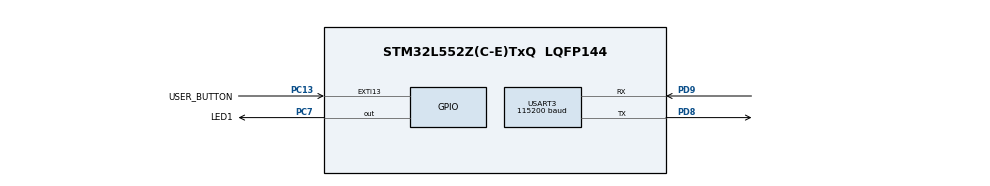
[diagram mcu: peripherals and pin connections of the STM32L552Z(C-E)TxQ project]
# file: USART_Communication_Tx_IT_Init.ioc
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Mcu.Family=STM32L5
Mcu.Name=STM32L552Z(C-E)TxQ
Mcu.Package=LQFP144
Mcu.TrustZone=disable
NVIC.EXTI13_IRQn=true\:3\:0\:true\:false\:true\:true\:true\:true
NVIC.PriorityGroup=NVIC_PRIORITYGROUP_3
NVIC.USART3_IRQn=true\:0\:0\:false\:false\:true\:true\:true\:true
PC13.GPIO_Label=USER_BUTTON
PC13.GPIO_ModeDefaultEXTI=GPIO_MODE_IT_FALLING
PC13.GPIO_PuPd=GPIO_NOPULL
PC13.Signal=GPXTI13
PC7.GPIO_Label=LED1
PC7.GPIO_PuPd=GPIO_NOPULL
PC7.Signal=GPIO_Output
PD8.GPIO_PuPd=GPIO_PULLUP
PD8.GPIO_Speed=GPIO_SPEED_FREQ_HIGH
PD8.Mode=Asynchronous
PD8.Signal=USART3_TX
PD9.GPIO_PuPd=GPIO_PULLUP
PD9.GPIO_Speed=GPIO_SPEED_FREQ_HIGH
PD9.Mode=Asynchronous
PD9.Signal=USART3_RX
ProjectManager.HeapSize=0x200
ProjectManager.StackSize=0x400
ProjectManager.TargetToolchain=EWARM V8.32
RCC.ADCCLockSelection=RCC_ADCCLKSOURCE_SYSCLK
RCC.ADCFreq_Value=110000000
RCC.AHBFreq_Value=110000000
RCC.APB1Freq_Value=110000000
RCC.APB1TimFreq_Value=110000000
RCC.APB2Freq_Value=110000000
RCC.APB2TimFreq_Value=110000000
RCC.CortexFreq_Value=110000000
RCC.HCLKFreq_Value=110000000
RCC.HSE_VALUE=16000000
RCC.HSI48_VALUE=48000000
RCC.HSI_VALUE=16000000
RCC.LSE_VALUE=32768
RCC.MSI_VALUE=4000000
RCC.PLLN=55
RCC.PLLSAI1N=24
RCC.RTCClockSelection=RCC_RTCCLKSOURCE_LSE
RCC.SYSCLKFreq_VALUE=110000000
RCC.SYSCLKSource=RCC_SYSCLKSOURCE_PLLCLK
RCC.USBFreq_Value=48000000
RCC.VCOOutputFreq_Value=220000000
USART3.AutoBaudRateEnableParam=UART_ADVFEATURE_AUTOBAUDRATE_DISABLE
USART3.BaudRate=115200
USART3.ClockPrescaler=PRESCALER_DIV1
USART3.DMADisableonRxErrorParam=ADVFEATURE_DMA_ENABLEONRXERROR
USART3.DataInvertParam=ADVFEATURE_DATAINV_DISABLE
USART3.FIFOMode=FIFOMODE_DISABLE
USART3.MSBFirstParam=ADVFEATURE_MSBFIRST_DISABLE
USART3.Mode=MODE_TX_RX
USART3.OneBitSampling=UART_ONE_BIT_SAMPLE_DISABLE
USART3.OverSampling=UART_OVERSAMPLING_16
USART3.OverrunDisableParam=ADVFEATURE_OVERRUN_ENABLE
USART3.Parity=PARITY_NONE
USART3.RXFIFOThreshold=RXFIFO_THRESHOLD_1EIGHTHFULL
USART3.RxPinLevelInvertParam=ADVFEATURE_RXINV_DISABLE
USART3.StopBits=STOPBITS_1
USART3.SwapParam=ADVFEATURE_SWAP_DISABLE
USART3.TXFIFOThreshold=TXFIFO_THRESHOLD_1EIGHTHFULL
USART3.TxPinLevelInvertParam=ADVFEATURE_TXINV_DISABLE
USART3.VirtualMode-Asynchronous=VM_ASYNC
USART3.WordLength=WORDLENGTH_8B
VP_ICACHE_VS_ICACHE.Mode=DirectMappedCache
VP_PWR_VS_DBSignals.Mode=DisableDeadBatterySignals
board=custom

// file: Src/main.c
/* USER CODE BEGIN Header */
/**
  ******************************************************************************
  * @file    Examples_LL/USART/USART_Communication_Tx_IT_Init/Src/main.c
  * @author  MCD Application Team
  * @brief   This example describes how to send bytes over USART IP using
  *          the STM32L5xx USART LL API.
  *          Peripheral initialization done using LL unitary services functions.
  ******************************************************************************
  * @attention
  *
  * Copyright (c) 2019 STMicroelectronics.
  * All rights reserved.
  *
  * This software is licensed under terms that can be found in the LICENSE file
  * in the root directory of this software component.
  * If no LICENSE file comes with this software, it is provided AS-IS.
  *
  ******************************************************************************
  */
/* USER CODE END Header */
#include "main.h"

/* USER CODE BEGIN PV */

__IO uint8_t ubButtonPress = 0;
__IO uint8_t ubSend = 0;
const uint8_t aStringToSend[] = "STM32L5xx USART LL API Example : TX in IT mode\r\nConfiguration UART 115200 bps, 8 data bit/1 stop bit/No parity/No HW flow control\r\n";
uint8_t ubSizeToSend = sizeof(aStringToSend);

/* USER CODE END PV */

void SystemClock_Config(void);
static void MX_GPIO_Init(void);
static void MX_ICACHE_Init(void);
static void MX_USART3_UART_Init(void);
/* USER CODE BEGIN PFP */
void     LED_On(void);
void     LED_Off(void);
void     LED_Blinking(uint32_t Period);

/* USER CODE END PFP */

int main(void)
{

  /* MCU Configuration--------------------------------------------------------*/

  /* Reset of all peripherals, Initializes the Flash interface and the Systick. */
  LL_APB2_GRP1_EnableClock(LL_APB2_GRP1_PERIPH_SYSCFG);
  LL_APB1_GRP1_EnableClock(LL_APB1_GRP1_PERIPH_PWR);

  /* System interrupt init*/
  NVIC_SetPriorityGrouping(NVIC_PRIORITYGROUP_3);

  /** Disable the internal Pull-Up in Dead Battery pins of UCPD peripheral
  */
  LL_PWR_DisableUCPDDeadBattery();

  /* Configure the system clock */
  SystemClock_Config();

  /* Initialize all configured peripherals */
  MX_GPIO_Init();
  MX_ICACHE_Init();
  MX_USART3_UART_Init();
  /* USER CODE BEGIN 2 */

  /* Polling USART initialisation */
  while ((!(LL_USART_IsActiveFlag_TEACK(USART3))) || (!(LL_USART_IsActiveFlag_REACK(USART3))))
  {
  }

  /* Enable RXNE and Error interrupts */
  LL_USART_EnableIT_RXNE(USART3);
  LL_USART_EnableIT_ERROR(USART3);

  /* Set LED1 Off */
  LED_Off();

  /* USER CODE END 2 */

  /* Infinite loop */
  while (1)
  {

  }
}

void SystemClock_Config(void)
{
  LL_FLASH_SetLatency(LL_FLASH_LATENCY_5);
  while(LL_FLASH_GetLatency()!= LL_FLASH_LATENCY_5)
  {
  }

  LL_PWR_SetRegulVoltageScaling(LL_PWR_REGU_VOLTAGE_SCALE0);
  LL_RCC_MSI_Enable();

   /* Wait till MSI is ready */
  while(LL_RCC_MSI_IsReady() != 1)
  {
  }

  LL_RCC_MSI_EnableRangeSelection();
  LL_RCC_MSI_SetRange(LL_RCC_MSIRANGE_6);
  LL_RCC_MSI_SetCalibTrimming(0);
  LL_RCC_PLL_ConfigDomain_SYS(LL_RCC_PLLSOURCE_MSI, LL_RCC_PLLM_DIV_1, 55, LL_RCC_PLLR_DIV_2);
  LL_RCC_PLL_EnableDomain_SYS();
  LL_RCC_PLL_Enable();

   /* Wait till PLL is ready */
  while(LL_RCC_PLL_IsReady() != 1)
  {
  }

   /* Intermediate AHB prescaler 2 when target frequency clock is higher than 80 MHz */
   LL_RCC_SetAHBPrescaler(LL_RCC_SYSCLK_DIV_2);

  LL_RCC_SetSysClkSource(LL_RCC_SYS_CLKSOURCE_PLL);

   /* Wait till System clock is ready */
  while(LL_RCC_GetSysClkSource() != LL_RCC_SYS_CLKSOURCE_STATUS_PLL)
  {
  }

  /* Insure 1us transition state at intermediate medium speed clock*/
  for (__IO uint32_t i = (RCC_MAX_FREQUENCY_MHZ >> 1); i !=0; i--);

  LL_RCC_SetAHBPrescaler(LL_RCC_SYSCLK_DIV_1);
  LL_RCC_SetAPB1Prescaler(LL_RCC_APB1_DIV_1);
  LL_RCC_SetAPB2Prescaler(LL_RCC_APB2_DIV_1);

  LL_Init1msTick(110000000);

  LL_SetSystemCoreClock(110000000);
}

static void MX_ICACHE_Init(void)
{

  /** Enable instruction cache in 1-way (direct mapped cache)
  */
  LL_ICACHE_SetMode(LL_ICACHE_1WAY);
  LL_ICACHE_Enable();

}

static void MX_USART3_UART_Init(void)
{

  LL_USART_InitTypeDef USART_InitStruct = {0};

  LL_GPIO_InitTypeDef GPIO_InitStruct = {0};

  LL_RCC_SetUSARTClockSource(LL_RCC_USART3_CLKSOURCE_PCLK1);

  /* Peripheral clock enable */
  LL_APB1_GRP1_EnableClock(LL_APB1_GRP1_PERIPH_USART3);

  LL_AHB2_GRP1_EnableClock(LL_AHB2_GRP1_PERIPH_GPIOD);
  /**USART3 GPIO Configuration
  PD8   ------> USART3_TX
  PD9   ------> USART3_RX
  */
  GPIO_InitStruct.Pin = LL_GPIO_PIN_8|LL_GPIO_PIN_9;
  GPIO_InitStruct.Mode = LL_GPIO_MODE_ALTERNATE;
  GPIO_InitStruct.Speed = LL_GPIO_SPEED_FREQ_HIGH;
  GPIO_InitStruct.OutputType = LL_GPIO_OUTPUT_PUSHPULL;
  GPIO_InitStruct.Pull = LL_GPIO_PULL_UP;
  GPIO_InitStruct.Alternate = LL_GPIO_AF_7;
  LL_GPIO_Init(GPIOD, &GPIO_InitStruct);

  /* USART3 interrupt Init */
  NVIC_SetPriority(USART3_IRQn, NVIC_EncodePriority(NVIC_GetPriorityGrouping(),0, 0));
  NVIC_EnableIRQ(USART3_IRQn);

  USART_InitStruct.PrescalerValue = LL_USART_PRESCALER_DIV1;
  USART_InitStruct.BaudRate = 115200;
  USART_InitStruct.DataWidth = LL_USART_DATAWIDTH_8B;
  USART_InitStruct.StopBits = LL_USART_STOPBITS_1;
  USART_InitStruct.Parity = LL_USART_PARITY_NONE;
  USART_InitStruct.TransferDirection = LL_USART_DIRECTION_TX_RX;
  USART_InitStruct.HardwareFlowControl = LL_USART_HWCONTROL_NONE;
  USART_InitStruct.OverSampling = LL_USART_OVERSAMPLING_16;
  LL_USART_Init(USART3, &USART_InitStruct);
  LL_USART_SetTXFIFOThreshold(USART3, LL_USART_FIFOTHRESHOLD_1_8);
  LL_USART_SetRXFIFOThreshold(USART3, LL_USART_FIFOTHRESHOLD_1_8);
  LL_USART_DisableFIFO(USART3);
  LL_USART_ConfigAsyncMode(USART3);
  LL_USART_Enable(USART3);

}

static void MX_GPIO_Init(void)
{
  LL_EXTI_InitTypeDef EXTI_InitStruct = {0};
  LL_GPIO_InitTypeDef GPIO_InitStruct = {0};

  /* GPIO Ports Clock Enable */
  LL_AHB2_GRP1_EnableClock(LL_AHB2_GRP1_PERIPH_GPIOC);
  LL_AHB2_GRP1_EnableClock(LL_AHB2_GRP1_PERIPH_GPIOD);

  /**/
  LL_GPIO_ResetOutputPin(LED1_GPIO_Port, LED1_Pin);

  /**/
  LL_EXTI_SetEXTISource(LL_EXTI_EXTI_PORTC, LL_EXTI_EXTI_LINE13);

  /**/
  EXTI_InitStruct.Line_0_31 = LL_EXTI_LINE_13;
  EXTI_InitStruct.Line_32_63 = LL_EXTI_LINE_NONE;
  EXTI_InitStruct.LineCommand = ENABLE;
  EXTI_InitStruct.Mode = LL_EXTI_MODE_IT;
  EXTI_InitStruct.Trigger = LL_EXTI_TRIGGER_FALLING;
  LL_EXTI_Init(&EXTI_InitStruct);

  /**/
  LL_GPIO_SetPinPull(USER_BUTTON_GPIO_Port, USER_BUTTON_Pin, LL_GPIO_PULL_NO);

  /**/
  LL_GPIO_SetPinMode(USER_BUTTON_GPIO_Port, USER_BUTTON_Pin, LL_GPIO_MODE_INPUT);

  /**/
  GPIO_InitStruct.Pin = LED1_Pin;
  GPIO_InitStruct.Mode = LL_GPIO_MODE_OUTPUT;
  GPIO_InitStruct.Speed = LL_GPIO_SPEED_FREQ_LOW;
  GPIO_InitStruct.OutputType = LL_GPIO_OUTPUT_PUSHPULL;
  GPIO_InitStruct.Pull = LL_GPIO_PULL_NO;
  LL_GPIO_Init(LED1_GPIO_Port, &GPIO_InitStruct);

  /* EXTI interrupt init*/
  NVIC_SetPriority(EXTI13_IRQn, NVIC_EncodePriority(NVIC_GetPriorityGrouping(),3, 0));
  NVIC_EnableIRQ(EXTI13_IRQn);

}

/* USER CODE BEGIN 4 */

/**
  * @brief  Turn-on LED1.
  * @param  None
  * @retval None
  */
void LED_On(void)
{
  /* Turn LED1 on */
  LL_GPIO_SetOutputPin(LED1_GPIO_Port, LED1_Pin);
}

/**
  * @brief  Turn-off LED1.
  * @param  None
  * @retval None
  */
void LED_Off(void)
{
  /* Turn LED1 off */
  LL_GPIO_ResetOutputPin(LED1_GPIO_Port, LED1_Pin);
}

/**
  * @brief  Set LED1 to Blinking mode for an infinite loop (toggle period based on value provided as input parameter).
  * @param  Period : Period of time (in ms) between each toggling of LED
  *   This parameter can be user defined values. Pre-defined values used in that example are :
  *     @arg LED_BLINK_FAST : Fast Blinking
  *     @arg LED_BLINK_SLOW : Slow Blinking
  *     @arg LED_BLINK_ERROR : Error specific Blinking
  * @retval None
  */
void LED_Blinking(uint32_t Period)
{
  /* Toggle LED1 in an infinite loop */
  while (1)
  {
    LL_GPIO_TogglePin(LED1_GPIO_Port, LED1_Pin);
    LL_mDelay(Period);
  }
}

/******************************************************************************/
/*   USER IRQ HANDLER TREATMENT Functions                                     */
/******************************************************************************/
/**
  * @brief  Function to manage User push-button
  * @param  None
  * @retval None
  */
void UserButton_Callback(void)
{
  /* Start transfer only if not already ongoing */
  if (ubSend == 0)
  {
    /* Start USART transmission : Will initiate TXE interrupt after TDR register is empty */
    LL_USART_TransmitData8(USART3, aStringToSend[ubSend++]);

    /* Enable TXE interrupt */
    LL_USART_EnableIT_TXE(USART3);
  }
}

/**
  * @brief  Function called for achieving next TX Byte sending
  * @param  None
  * @retval None
  */
void USART_TXEmpty_Callback(void)
{
  if (ubSend == (ubSizeToSend - 1))
  {
    /* Disable TXE interrupt */
    LL_USART_DisableIT_TXE(USART3);

    /* Enable TC interrupt */
    LL_USART_EnableIT_TC(USART3);
  }

  /* Fill TDR with a new char */
  LL_USART_TransmitData8(USART3, aStringToSend[ubSend++]);
}

/**
  * @brief  Function called at completion of last byte transmission
  * @param  None
  * @retval None
  */
void USART_CharTransmitComplete_Callback(void)
{
  if (ubSend == sizeof(aStringToSend))
  {
    ubSend = 0;

    /* Disable TC interrupt */
    LL_USART_DisableIT_TC(USART3);

    /* Turn LED1 On at end of transfer : Tx sequence completed successfully */
    LED_On();
  }
}

/**
  * @brief  Function called in case of error detected in USART IT Handler
  * @param  None
  * @retval None
  */
void Error_Callback(void)
{
  __IO uint32_t isr_reg;

  /* Disable USARTx_IRQn */
  NVIC_DisableIRQ(USART3_IRQn);

  /* Error handling example :
    - Read USART ISR register to identify flag that leads to IT raising
    - Perform corresponding error handling treatment according to flag
  */
  isr_reg = LL_USART_ReadReg(USART3, ISR);
  if (isr_reg & LL_USART_ISR_NE)
  {
    /* case Noise Error flag is raised : ... */
    LED_Blinking(LED_BLINK_FAST);
  }
  else
  {
    /* Unexpected IT source : Set LED to Blinking mode to indicate error occurs */
    LED_Blinking(LED_BLINK_ERROR);
  }
}

/* USER CODE END 4 */

void Error_Handler(void)
{
  while(1)
  {
  }
}

#ifdef  USE_FULL_ASSERT
/**
  * @brief  Reports the name of the source file and the source line number
  *         where the assert_param error has occurred.
  * @param  file: pointer to the source file name
  * @param  line: assert_param error line source number
  * @retval None
  */
void assert_failed(uint8_t *file, uint32_t line)
{
  /* USER CODE BEGIN 6 */
  /* User can add his own implementation to report the file name and line number,
     ex: printf("Wrong parameters value: file %s on line %d\r\n", file, line) */
  /* Infinite loop */
  while (1)
  {}
  /* USER CODE END 6 */
}
#endif /* USE_FULL_ASSERT */
